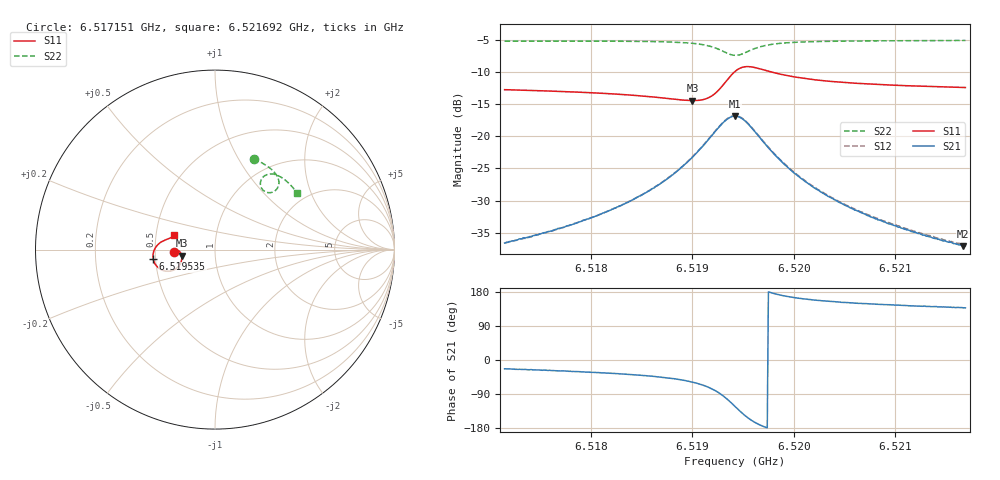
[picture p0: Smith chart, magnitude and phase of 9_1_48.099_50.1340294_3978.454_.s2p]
#  HZ  S  RI  R  50.00
! Rohde & Schwarz Vector Network Analyzer
! Rohde-Schwarz,ZNB20-2Port,1311601062101988,3.16
! Created: UTC 12/23/2023, 3:35:28 AM
! freq[Hz]  re:S11  im:S11  re:S21  im:S21  re:S12  im:S12  re:S22  im:S22
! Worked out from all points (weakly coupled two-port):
!   401 points, 6.517151 GHz to 6.521692 GHz, reference 50 ohm
!   highest |S21| = -16.87 dB at 6.519422 GHz (marker M1); lowest = -37.1 dB at 6.52167 GHz (marker M2)
!   lowest |S11| = -14.5 dB at 6.519002 GHz (marker M3), VSWR 1.47, Z = 34.2 - j2.37 ohm
!   |S11| at or under -10 dB: start of sweep to 6.519417 GHz; 6.51978 GHz to end of sweep
!   |S22| runs from -7.4 to -5.1 dB; largest |S21 - S12| = 0.0043
!   S11 on the Smith chart (normalised r, x): 6.517151 GHz: 0.63, -0.02; 6.519535 GHz: 0.49, -0.06; 6.521692 GHz: 0.62, +0.10
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6.5171511e9  -0.2299 -0.0139  0.0136 -0.00583  0.0138 -0.00536  0.215 0.505
6.5176166e9  -0.2242 -0.00739  0.0162 -0.00853  0.0165 -0.00796  0.2492 0.4895
6.5179118e9  -0.2196 -0.00439  0.0186 -0.0114  0.019 -0.0107  0.2709 0.4775
6.5183092e9  -0.211 -0.00304  0.0234 -0.0175  0.024 -0.0168  0.3008 0.458
6.5186725e9  -0.1998 -0.00848  0.03 -0.0295  0.031 -0.0288  0.3292 0.4331
6.5188541e9  -0.1923 -0.018  0.0341 -0.0416  0.0354 -0.0407  0.3432 0.4148
6.5190017e9  -0.1864 -0.0334  0.0361 -0.0584  0.038 -0.0578  0.3531 0.3935
6.5191039e9  -0.1852 -0.0519  0.0338 -0.0765  0.0363 -0.0759  0.3562 0.3731
6.5191947e9  -0.1916 -0.0762  0.0242 -0.0986  0.0273 -0.0987  0.3516 0.35
6.5193309e9  -0.2382 -0.117  -0.0236 -0.131  -0.02 -0.1327  0.3149 0.3183
6.5194218e9  -0.2982 -0.1126  -0.077 -0.1209  -0.0743 -0.1241  0.2731 0.3268
6.5194785e9  -0.329 -0.0871  -0.1015 -0.095  -0.0998 -0.0987  0.2561 0.3488
6.5195353e9  -0.3439 -0.0538  -0.1109 -0.0646  -0.1099 -0.0682  0.2529 0.3741
6.5196375e9  -0.3393 -0.00414  -0.1017 -0.0225  -0.1017 -0.0257  0.27 0.4062
6.5197623e9  -0.3178 0.0282  -0.0795 0.00158  -0.0802 -0.000568  0.2983 0.4205
6.5199781e9  -0.2879 0.0489  -0.0524 0.013  -0.0532 0.0119  0.3353 0.4187
6.5201824e9  -0.2707 0.0564  -0.038 0.0147  -0.0389 0.0138  0.3592 0.4088
6.5205117e9  -0.2539 0.0627  -0.0255 0.0137  -0.0262 0.0131  0.3876 0.39
6.5209431e9  -0.2407 0.0689  -0.0171 0.0117  -0.0178 0.0116  0.4164 0.3644
6.5212837e9  -0.2333 0.0736  -0.0135 0.0105  -0.0138 0.0103  0.4355 0.3436
6.5216697e9  -0.2262 0.0789  -0.0103 0.00939  -0.0111 0.00918  0.4549 0.3197
6.5216924e9  -0.2259 0.0791  -0.0103 0.00944  -0.0108 0.00925  0.4561 0.3181
